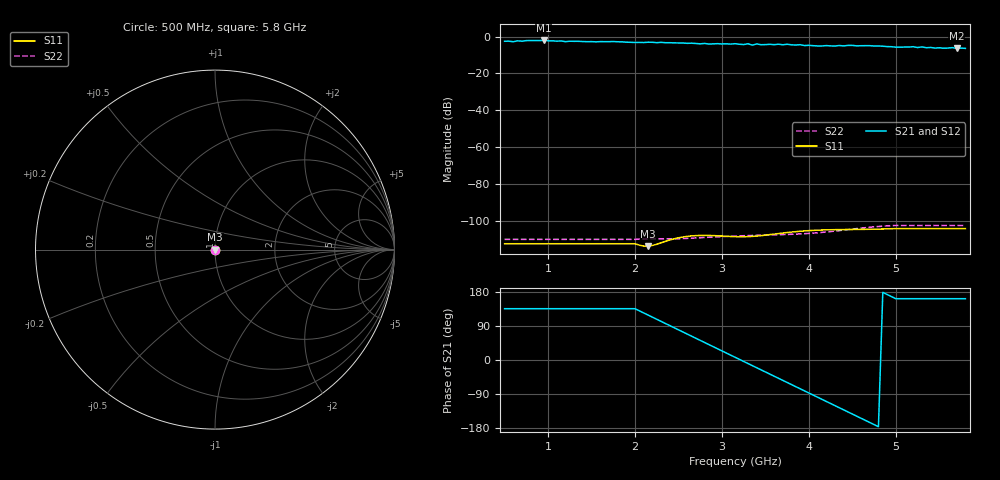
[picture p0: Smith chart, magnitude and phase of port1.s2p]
# GHZ S RI R 50
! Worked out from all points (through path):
!   107 points, 500 MHz to 5.8 GHz, reference 50 ohm
!   highest |S21| = -2.08 dB at 950 MHz (marker M1); lowest = -6.4 dB at 5.7 GHz (marker M2)
!   lowest |S11| = -113.7 dB at 2.15 GHz (marker M3), VSWR 1.00, Z = 50 + j4.61e-05 ohm
!   |S11| at or under -10 dB: start of sweep to end of sweep
!   |S22| runs from -110.0 to -102.4 dB; largest |S21 - S12| = 0
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0.5  1.29e-06 2.04e-06  -0.5321 0.5257  -0.5321 0.5257  1.86e-06 -2.57e-06
0.95  1.29e-06 2.04e-06  -0.5596 0.5528  -0.5596 0.5528  1.86e-06 -2.57e-06
1.4  1.29e-06 2.04e-06  -0.5231 0.5168  -0.5231 0.5168  1.86e-06 -2.57e-06
2  1.29e-06 2.04e-06  -0.4935 0.4875  -0.4935 0.4875  1.86e-06 -2.57e-06
2.15  2.02e-06 4.61e-07  -0.3378 0.619  -0.3378 0.619  8.18e-07 -3.17e-06
2.3  2.29e-06 -1.15e-06  -0.1441 0.6838  -0.1441 0.6838  -4.25e-07 -3.24e-06
2.65  1.15e-06 -3.76e-06  0.3018 0.5905  0.3018 0.5905  -2.91e-06 -1.79e-06
2.95  -1e-06 -3.83e-06  0.5599 0.3174  0.5599 0.3174  -3.47e-06 1.37e-06
3.15  -2.46e-06 -2.84e-06  0.6371 0.0818  0.6371 0.0818  -1.87e-06 3.43e-06
3.3  -3.35e-06 -1.72e-06  0.6304 -0.1039  0.6304 -0.1039  1.58e-07 4.01e-06
3.35  -3.59e-06 -1.3e-06  0.567 -0.151  0.567 -0.151  8.81e-07 3.95e-06
3.4  -3.8e-06 -8.68e-07  0.5941 -0.2218  0.5941 -0.2218  1.58e-06 3.76e-06
3.65  -4.35e-06 1.36e-06  0.4149 -0.4647  0.4149 -0.4647  4.04e-06 1.27e-06
3.9  -4.05e-06 3.36e-06  0.1461 -0.5862  0.1461 -0.5862  3.95e-06 -2.07e-06
4.05  -3.5e-06 4.31e-06  -0.0264 -0.5668  -0.0264 -0.5668  2.86e-06 -3.71e-06
4.2  -2.74e-06 5.04e-06  -0.1889 -0.5385  -0.1889 -0.5385  1.22e-06 -4.87e-06
4.5  -7.8e-07 5.83e-06  -0.4598 -0.3507  -0.4598 -0.3507  -3.28e-06 -5.05e-06
4.7  6.77e-07 5.91e-06  -0.548 -0.1479  -0.548 -0.1479  -6.16e-06 -2.79e-06
4.95  2.48e-06 5.63e-06  -0.5193 0.117  -0.5193 0.117  -7.12e-06 2.24e-06
5  2.83e-06 5.53e-06  -0.492 0.1623  -0.492 0.1623  -6.8e-06 3.29e-06
5.7  2.83e-06 5.53e-06  -0.4548 0.1501  -0.4548 0.1501  -6.8e-06 3.29e-06
5.8  2.83e-06 5.53e-06  -0.456 0.1505  -0.456 0.1505  -6.8e-06 3.29e-06
